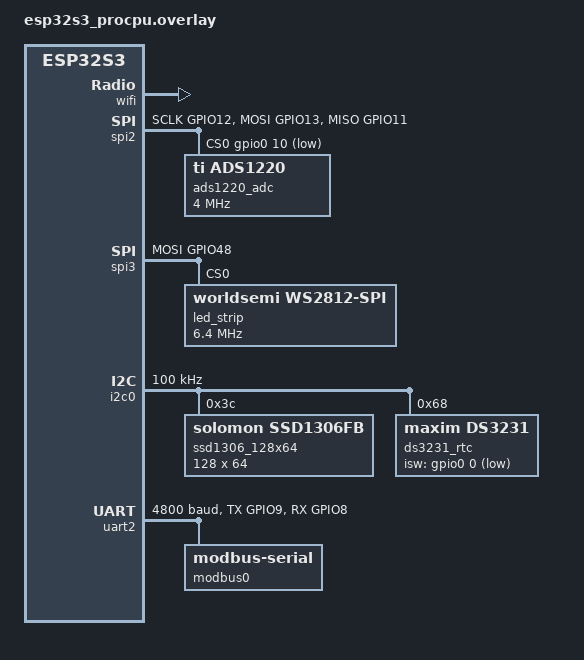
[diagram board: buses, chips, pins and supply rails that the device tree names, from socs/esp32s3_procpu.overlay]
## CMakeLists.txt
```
# SPDX-License-Identifier: Apache-2.0

cmake_minimum_required(VERSION 3.20.0)

find_package(Zephyr REQUIRED HINTS $ENV{ZEPHYR_BASE})
project(wifi)

FILE(GLOB app_sources src/*.c)
target_sources(app PRIVATE ${app_sources})
target_include_directories(app PRIVATE include)

# Add ADS1220_WE library (ported from Arduino)
target_sources(app PRIVATE src/ads1220_we.c)
# Remove old ADS1220 library
# target_sources(app PRIVATE lib/ADS1220/ADS1220.c)
# target_include_directories(app PRIVATE lib/ADS1220)
```

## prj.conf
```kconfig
CONFIG_EARLY_CONSOLE=y

CONFIG_NETWORKING=y
CONFIG_TEST_RANDOM_GENERATOR=y

CONFIG_MAIN_STACK_SIZE=5200
CONFIG_SHELL_STACK_SIZE=5200
CONFIG_NET_TX_STACK_SIZE=2048
CONFIG_NET_RX_STACK_SIZE=2048

CONFIG_NET_PKT_RX_COUNT=10
CONFIG_NET_PKT_TX_COUNT=10
CONFIG_NET_BUF_RX_COUNT=20
CONFIG_NET_BUF_TX_COUNT=20
CONFIG_NET_MAX_CONTEXTS=10
CONFIG_NET_DHCPV4=y

CONFIG_NET_IPV4=y
CONFIG_NET_IPV6=n

CONFIG_NET_TCP=y

CONFIG_NET_LOG=y
CONFIG_INIT_STACKS=y

CONFIG_NET_SHELL=y

CONFIG_NET_STATISTICS=y
CONFIG_NET_STATISTICS_PERIODIC_OUTPUT=n

# 로깅 켜기 + UART로 출력
CONFIG_LOG=y
CONFIG_LOG_BACKEND_UART=y
CONFIG_UART_CONSOLE=y

# 디폴트 레벨을 debug로
#CONFIG_LOG_DEFAULT_LEVEL=4     
# 0 none, 1 err, 2 wrn, 3 inf, 4 dbg

CONFIG_WIFI=y
CONFIG_WIFI_LOG_LEVEL_ERR=y
CONFIG_NET_L2_WIFI_SHELL=y
# printing of scan results puts pressure on queues in new locking
# design in net_mgmt. So, use a higher timeout for a crowded
# environment.
CONFIG_NET_MGMT_EVENT_QUEUE_TIMEOUT=5000
CONFIG_NET_MGMT_EVENT_QUEUE_SIZE=16


# Configuration for using the ssd1306 oled display
CONFIG_I2C=y
CONFIG_DISPLAY=y
CONFIG_SSD1306=y
CONFIG_SSD1306_DEFAULT_CONTRAST=128
CONFIG_CHARACTER_FRAMEBUFFER=y


#Configuration for using led strip
CONFIG_LED_STRIP=y
CONFIG_LED_STRIP_LOG_LEVEL_DBG=y


#Configuration for using modbus
CONFIG_UART_INTERRUPT_DRIVEN=y
CONFIG_UART_LINE_CTRL=n
CONFIG_MODBUS=y
CONFIG_MODBUS_ROLE_CLIENT=y

#Configuration for using SPI
CONFIG_SPI=y
CONFIG_SPI_ASYNC=y
```

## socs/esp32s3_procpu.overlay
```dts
#include <zephyr/dt-bindings/led/led.h>
#include <zephyr/dt-bindings/spi/spi.h>


&pinctrl{
	spim3_default: spim3_default{
		group1 {
			pinmux = <SPIM3_MOSI_GPIO48>;
		};
	};

	/* SPI2 (FSPI) pins for ADC communication */
	spi2_default: spi2_default {
		group1 {
			pinmux = <SPIM2_SCLK_GPIO12>,
					 <SPIM2_MOSI_GPIO13>,
					 <SPIM2_MISO_GPIO11>;
		};
	};
/* UART2 핀 배치: 예시로 TX=GPIO17, RX=GPIO18 사용
	   필요시 원하는 GPIO 번호로 바꿔도 됩니다.
	   (esp32s3-pinctrl.h에 UART2_TX_GPIOxx / UART2_RX_GPIOxx 매크로 존재) */
	uart2_pins: uart2_pins {
		group1 {
			pinmux = <UART2_TX_GPIO9>;
			/* TX 출력 기본값 등 필요시 속성 추가 가능 */
		};
		group2 {
			pinmux = <UART2_RX_GPIO8>;
			bias-pull-up;
		};
	};

};

/ {
	chosen {
	 zephyr,display = &ssd1306_128x64;
	 zephyr,modbus = &modbus0;
//	 zephyr,led-strip = &led_strip;
	};

	aliases {
		// usb-cdc = &usb_serial;
		 rtc = &ds3231_rtc;
		 led-strip = &led_strip;
	};
};

&wifi {
	status = "okay";
};

/* --- SPI2: ADS1220 ADC Communication --- */
&spi2 {
	status = "okay";
	pinctrl-0 = <&spi2_default>;
	pinctrl-names = "default";
	cs-gpios = <&gpio0 10 GPIO_ACTIVE_LOW>;

	ads1220_adc: ads1220@0 {
		compatible = "ti,ads1220";
		reg = <0>;
		spi-max-frequency = <4000000>; /* 4MHz for ADS1220, max is 6.67MHz */
	
		/* === Zephyr 4.2에서 SPI_DT_SPEC_GET가 기대하는 새 속성 === */
  	duplex = <SPI_FULL_DUPLEX>;      /* 3-wire가 아니라면 전이중 */
  	// mode = <SPI_MODE_CPHA>;          /* ADS1220 권장: Mode 1(CPOL=0, CPHA=1) */
  	/* Mode 3이라면: mode = <SPI_MODE_CPOL | SPI_MODE_CPHA>; */
	};
};

/* --- SPI3: WS2812 over SPI --- */
&spi3 {
    status = "okay";
    pinctrl-0 = <&spim3_default>;
    pinctrl-names = "default";

    /* WS2812용 파형 인코딩용 설정 */
    line-idle-low;
		led_strip: ws2812@0 {
        compatible = "worldsemi,ws2812-spi";
        reg = <0>;
        status = "okay";

        /* 단일 LED라면 1, 계속 연결하면 개수대로 */
        chain-length = <1>;

        /* 800 kHz 타이밍을 SPI로 에뮬레이션 */
        spi-max-frequency = <6400000>;
        spi-cpha;
        spi-one-frame = <0xF0>; /* 1비트: 0.625us H / 0.625us L */
        spi-zero-frame = <0xC0>;/* 0비트: 0.3125us H / 0.9375us L */

        /* GRB 순서(보드 기본 RGB LED가 보통 GRB) */
        color-mapping = <LED_COLOR_ID_GREEN
                         LED_COLOR_ID_RED
                         LED_COLOR_ID_BLUE>;
    };
 
};


/* OLED display */
&i2c0 {
	status = "okay";
	clock-frequency = <I2C_BITRATE_STANDARD>;
	pinctrl-0 = <&i2c0_default>;
	pinctrl-names = "default";
	ssd1306_128x64: ssd1306@3c {
		compatible = "solomon,ssd1306fb";
		reg = <0x3c>;
		width = <128>;
		height = <64>;
		segment-offset = <0>;
		page-offset = <0>;
		display-offset = <0>;
		multiplex-ratio = <63>;
		segment-remap;
		com-invdir;
		prechargep = <0x22>;
 		};
	ds3231_rtc: ds3231@68 {
		compatible = "maxim,ds3231";
		reg = <0x68>;	
		isw-gpios = <&gpio0 0 (GPIO_PULL_UP | GPIO_ACTIVE_LOW)>;
		};
};
&uart2 {
	status = "okay";
	current-speed = <4800>;
	pinctrl-0 = <&uart2_pins>;
	pinctrl-names = "default";

	/* (선택) ESP32 하드웨어 RS-485 모드: DTR 핀으로 DE 자동 제어
	 * RS-485 트랜시버의 DE를 UART2 DTR에 물렸을 때만 켜세요.
	 * hw-rs485-hd-mode;
	 */

	/* Modbus RTU(시리얼) 노드 — UART의 자식 노드 */
	modbus0: modbus-serial {
		compatible = "zephyr,modbus-serial";
		status = "okay";

		/* RS-485 트랜시버 DE/RE 제어 핀 (예: GPIO10에 DE와 ~RE 묶음)
		   하드웨어가 DE와 ~RE를 한 핀에 묶었다면 아래처럼 같은 핀을
		   active-high / active-low로 각각 지정합니다. */
		//de-gpios = <&gpio0 10 GPIO_ACTIVE_HIGH>;
		//re-gpios = <&gpio0 10 GPIO_ACTIVE_LOW>;
	};
};
```

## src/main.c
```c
#include <errno.h>
#include <stdint.h>

#include <zephyr/device.h>
#include <zephyr/kernel.h>
#include <zephyr/logging/log.h>

#include <zephyr/net/net_core.h>
#include <zephyr/net/net_if.h>
#include <zephyr/net/net_ip.h>

#include <zephyr/net/net_event.h>
#include <zephyr/net/net_mgmt.h>
#include <zephyr/net/wifi_mgmt.h>

// strip
#include <zephyr/drivers/led_strip.h>
#include <zephyr/drivers/spi.h>

#include "zephyr/drivers/display.h"
#include <zephyr/display/cfb.h>

#include "adc.h"

#define DISPLAY_WIDTH 128
#define DISPALY_HEIGHT 64
#define MESSAGE "Are you ready?? "

LOG_MODULE_REGISTER(main, CONFIG_LOG_DEFAULT_LEVEL);

#define STRIP_NODE DT_ALIAS(led_strip)

#if DT_NODE_HAS_PROP(DT_ALIAS(led_strip), chain_length)
#define STRIP_NUM_PIXELS DT_PROP(DT_ALIAS(led_strip), chain_length)
#else
#error Unable to determine length of LED strip
#endif

#define DELAY_TIME K_MSEC(1000)
#define RGB(_r, _g, _b) {.r = (_r), .g = (_g), .b = (_b)}

static const struct led_rgb colors[] = {
    RGB(0x0f, 0x00, 0x00), /* red */
    RGB(0x00, 0x0f, 0x00), /* green */
    RGB(0x00, 0x00, 0x0f), /* blue */
};

// display
static const struct device *display_dev =
    DEVICE_DT_GET(DT_CHOSEN(zephyr_display));

// strip led for ws2812
static const struct device *const strip = DEVICE_DT_GET(STRIP_NODE);
static struct led_rgb pixels[STRIP_NUM_PIXELS];

int start_led_strip(void) {
  size_t color = 0;
  int rc;

  if (device_is_ready(strip)) {
    LOG_INF("Found LED strip device %s", strip->name);
  } else {
    LOG_ERR("LED strip device %s is not ready", strip->name);
    return 0;
  }

  LOG_INF("Displaying pattern on strip");
  while (1) {
    for (size_t cursor = 0; cursor < ARRAY_SIZE(pixels); cursor++) {
      memset(&pixels, 0x00, sizeof(pixels));
      memcpy(&pixels[cursor], &colors[color], sizeof(struct led_rgb));

      rc = led_strip_update_rgb(strip, pixels, STRIP_NUM_PIXELS);
      if (rc) {
        LOG_ERR("couldn't update strip: %d", rc);
      }

      k_sleep(DELAY_TIME);
    }

    color = (color + 1) % ARRAY_SIZE(colors);
  }

  return 0;
}

int main(void) {

  LOG_INF("Start system ");
  int ret;

  if (display_dev == NULL) {
    LOG_ERR("디스플레이 디바이스가 NULL 입니다");
    return -1;
  }

  if (!device_is_ready(display_dev)) {
    LOG_ERR("디스플레이 디바이스가 준비되지 않았습니다");
    return -1;
  }

  ret = cfb_framebuffer_init(display_dev);
  if (ret != 0) {
    LOG_INF("could not initialize display");
    return -1;
  }
  // inverted background and font
  ret = cfb_framebuffer_invert(display_dev);

  // MQTT 메시지 표시
  ret = cfb_framebuffer_clear(display_dev, true);
  if (ret) {
    LOG_ERR("디스플레이 클리어 실패");
  }

  ret = cfb_print(display_dev, MESSAGE, 0, 0);
  if (ret) {
    LOG_ERR("MQTT 메시지 출력 실패");
  }

  ret = cfb_framebuffer_finalize(display_dev);
  if (ret) {
    LOG_ERR("디스플레이 업데이트 실패");
  }

  // Initialize and start ADC module
  adc_app_start();

  start_led_strip();
  return 0;
}
```

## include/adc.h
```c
#ifndef ADC_H
#define ADC_H

#include <zephyr/device.h>
#include <zephyr/drivers/spi.h>
#include <zephyr/drivers/gpio.h>
#include <zephyr/kernel.h>
#include <zephyr/sys/printk.h>
#include <zephyr/logging/log.h>
#include "ads1220_we.h"

// Function declarations
int adc_init(void);
int adc_read_channel(uint8_t channel, int32_t *value);
void adc_test_loop(void);
void adc_app_start(void);

// ADS1220_WE specific functions
int ads1220_read_differential(ads1220_mux_t mux_config, int32_t *value);
int ads1220_read_single_ended(uint8_t channel, int32_t *value);
float adc_raw_to_voltage(int32_t raw_value);

#endif
```

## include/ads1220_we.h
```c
/******************************************************************************
 * ADS1220_WE Library - Ported to Zephyr RTOS
 *
 * Original Arduino library by Wolfgang (Wolle) Ewald
 * Ported to Zephyr RTOS for ESP32-S3
 *
 * This is a library for the 24 bit, 4 channel ADS1220 A/D Converter
 ******************************************************************************/

#ifndef ADS1220_WE_H_
#define ADS1220_WE_H_

#include <stdbool.h>
#include <stdint.h>
#include <zephyr/device.h>
#include <zephyr/drivers/gpio.h>
#include <zephyr/drivers/spi.h>
#include <zephyr/kernel.h>
#include <zephyr/logging/log.h>
#include <zephyr/sys/printk.h>

/* ADS1220 MUX Configuration */
typedef enum {
  ADS1220_MUX_0_1 = 0x00, // default
  ADS1220_MUX_0_2 = 0x10,
  ADS1220_MUX_0_3 = 0x20,
  ADS1220_MUX_1_2 = 0x30,
  ADS1220_MUX_1_3 = 0x40,
  ADS1220_MUX_2_3 = 0x50,
  ADS1220_MUX_1_0 = 0x60,
  ADS1220_MUX_3_2 = 0x70,
  ADS1220_MUX_0_AVSS = 0x80,
  ADS1220_MUX_1_AVSS = 0x90,
  ADS1220_MUX_2_AVSS = 0xA0,
  ADS1220_MUX_3_AVSS = 0xB0,
  ADS1220_MUX_REFPX_REFNX_4 = 0xC0,
  ADS1220_MUX_AVDD_M_AVSS_4 = 0xD0,
  ADS1220_MUX_AVDD_P_AVSS_2 = 0xE0
} ads1220_mux_t;

typedef enum {
  ADS1220_GAIN_1 = 0x00, // default
  ADS1220_GAIN_2 = 0x02,
  ADS1220_GAIN_4 = 0x04,
  ADS1220_GAIN_8 = 0x06,
  ADS1220_GAIN_16 = 0x08,
  ADS1220_GAIN_32 = 0x0A,
  ADS1220_GAIN_64 = 0x0C,
  ADS1220_GAIN_128 = 0x0E
} ads1220_gain_t;

typedef enum {
  ADS1220_DR_LVL_0 =
      0x00, // default: 20 SPS (normal), 5 SPS (duty), 40 SPS (turbo)
  ADS1220_DR_LVL_1 = 0x20, // 45 SPS (normal), 11.25 SPS (duty), 90 SPS (turbo)
  ADS1220_DR_LVL_2 = 0x40, // 90 SPS (normal), 22.5 SPS (duty), 180 SPS (turbo)
  ADS1220_DR_LVL_3 = 0x60, // 175 SPS (normal), 44 SPS (duty), 350 SPS (turbo)
  ADS1220_DR_LVL_4 = 0x80, // 330 SPS (normal), 82.5 SPS (duty), 660 SPS (turbo)
  ADS1220_DR_LVL_5 = 0xA0, // 600 SPS (normal), 150 SPS (duty), 1200 SPS (turbo)
  ADS1220_DR_LVL_6 = 0xC0 // 1000 SPS (normal), 250 SPS (duty), 2000 SPS (turbo)
} ads1220_data_rate_t;

typedef enum {
  ADS1220_NORMAL_MODE = 0x00, // default
  ADS1220_DUTY_CYCLE_MODE = 0x08,
  ADS1220_TURBO_MODE = 0x10
} ads1220_op_mode_t;

typedef enum {
  ADS1220_SINGLE_SHOT = 0x00, // default
  ADS1220_CONTINUOUS = 0x04
} ads1220_conv_mode_t;

typedef enum {
  ADS1220_VREF_INT = 0x00,         // default - Internal 2.048V
  ADS1220_VREF_REFP0_REFN0 = 0x40, // External reference REFP0/REFN0
  ADS1220_VREF_REFP1_REFN1 = 0x80, // External reference REFP1/REFN1 (AIN0/AIN3)
  ADS1220_VREF_AVDD_AVSS = 0xC0    // Supply voltage AVDD/AVSS
} ads1220_vref_t;

typedef enum {
  ADS1220_NONE = 0x00,      // default - No 50Hz/60Hz rejection
  ADS1220_50HZ_60HZ = 0x10, // Both 50Hz and 60Hz rejection
  ADS1220_50HZ = 0x20,      // 50Hz rejection only
  ADS1220_60HZ = 0x30       // 60Hz rejection only
} ads1220_fir_t;

typedef enum {
  ADS1220_ALWAYS_OPEN = 0x00, // default - Switch always open
  ADS1220_SWITCH = 0x08       // Switch control
} ads1220_psw_t;

typedef enum {
  ADS1220_IDAC_OFF = 0x00, // default
  ADS1220_IDAC_10_MU_A = 0x01,
  ADS1220_IDAC_50_MU_A = 0x02,
  ADS1220_IDAC_100_MU_A = 0x03,
  ADS1220_IDAC_250_MU_A = 0x04,
  ADS1220_IDAC_500_MU_A = 0x05,
  ADS1220_IDAC_1000_MU_A = 0x06,
  ADS1220_IDAC_1500_MU_A = 0x07
} ads1220_idac_current_t;

typedef enum {
  ADS1220_IDAC_NONE = 0x00, // default
  ADS1220_IDAC_AIN0_REFP1 = 0x01,
  ADS1220_IDAC_AIN1 = 0x02,
  ADS1220_IDAC_AIN2 = 0x03,
  ADS1220_IDAC_AIN3_REFN1 = 0x04,
  ADS1220_IDAC_REFP0 = 0x05,
  ADS1220_IDAC_REFN0 = 0x06,
} ads1220_idac_routing_t;

typedef enum {
  ADS1220_DRDY = 0x00,     // default - Use DRDY pin
  ADS1220_DOUT_DRDY = 0x02 // Use DOUT/DRDY pin
} ads1220_drdy_mode_t;

/* ADS1220 Device Structure */
typedef struct {
  const struct spi_dt_spec *spi;
  int drdy_pin;
  float vref;
  uint8_t gain;
  bool ref_measurement;
  bool do_not_bypass_pga_if_possible;
  bool non_blocking_mode;
  ads1220_conv_mode_t conv_mode;
} ads1220_dev_t;

/* ADS1220 Commands */
#define ADS1220_RESET 0x06
#define ADS1220_START 0x08 // START/SYNC command for continuous conversion
#define ADS1220_PWRDOWN 0x02
#define ADS1220_RDATA 0x10
#define ADS1220_WREG 0x40 // Write register
#define ADS1220_RREG 0x20 // Read register

/* ADS1220 Registers */
#define ADS1220_CONF_REG_0 0x00
#define ADS1220_CONF_REG_1 0x01
#define ADS1220_CONF_REG_2 0x02
#define ADS1220_CONF_REG_3 0x03

/* ADS1220 Constants */
#define ADS1220_RANGE 8388607.0 // 2^23 - 1 as float

/* Device Configuration */
#define SPI_ADS1220_NODE DT_NODELABEL(spi2)
#define ADS1220_DEVICE_NODE DT_NODELABEL(ads1220_adc)
#define ADS1220_CS_GPIO_NODE DT_NODELABEL(gpio0)
#define ADS1220_CS_PIN 10
#define ADS1220_DRDY_PIN -1 // Optional DRDY pin

/* Function Declarations */

/* Initialization and Control */
int ads1220_init(ads1220_dev_t *dev);
void ads1220_start(ads1220_dev_t *dev);
void ads1220_reset(ads1220_dev_t *dev);
void ads1220_power_down(ads1220_dev_t *dev);

/* Configuration Register 0 settings */
void ads1220_set_compare_channels(ads1220_dev_t *dev, ads1220_mux_t mux);
void ads1220_set_gain(ads1220_dev_t *dev, ads1220_gain_t gain);
uint8_t ads1220_get_gain_factor(ads1220_dev_t *dev);
void ads1220_bypass_pga(ads1220_dev_t *dev, bool bypass);
bool ads1220_is_pga_bypassed(ads1220_dev_t *dev);

/* Configuration Register 1 settings */
void ads1220_set_data_rate(ads1220_dev_t *dev, ads1220_data_rate_t rate);
void ads1220_set_operating_mode(ads1220_dev_t *dev, ads1220_op_mode_t mode);
void ads1220_set_conversion_mode(ads1220_dev_t *dev, ads1220_conv_mode_t mode);
void ads1220_enable_temperature_sensor(ads1220_dev_t *dev, bool enable);
void ads1220_enable_burnout_current_sources(ads1220_dev_t *dev, bool enable);

/* Configuration Register 2 settings */
void ads1220_set_vref_source(ads1220_dev_t *dev, ads1220_vref_t vref_source);
void ads1220_set_fir_filter(ads1220_dev_t *dev, ads1220_fir_t fir);
void ads1220_set_low_side_power_switch(ads1220_dev_t *dev, ads1220_psw_t psw);
void ads1220_set_idac_current(ads1220_dev_t *dev,
                              ads1220_idac_current_t current);

/* Configuration Register 3 settings */
void ads1220_set_idac1_routing(ads1220_dev_t *dev,
                               ads1220_idac_routing_t route);
void ads1220_set_idac2_routing(ads1220_dev_t *dev,
                               ads1220_idac_routing_t route);
void ads1220_set_drdy_mode(ads1220_dev_t *dev, ads1220_drdy_mode_t mode);

/* Other settings */
void ads1220_set_spi_clock_speed(ads1220_dev_t *dev, uint32_t clock);
void ads1220_set_vref_value_v(ads1220_dev_t *dev, float ref_val);
float ads1220_get_vref_v(ads1220_dev_t *dev);
void ads1220_set_avdd_avss_as_vref_and_calibrate(ads1220_dev_t *dev);
void ads1220_set_refp0_refn0_as_vref_and_calibrate(ads1220_dev_t *dev);
void ads1220_set_refp1_refn1_as_vref_and_calibrate(ads1220_dev_t *dev);
void ads1220_set_int_vref(ads1220_dev_t *dev);
void ads1220_set_non_blocking_mode(ads1220_dev_t *dev, bool non_blocking);
bool ads1220_get_non_blocking_mode(ads1220_dev_t *dev);

/* Results */
float ads1220_get_voltage_mv(ads1220_dev_t *dev);
float ads1220_get_voltage_muv(ads1220_dev_t *dev);
int32_t ads1220_get_raw_data(ads1220_dev_t *dev);
float ads1220_get_temperature(ads1220_dev_t *dev);

/* Low-level functions */
int32_t ads1220_get_data(ads1220_dev_t *dev);
uint32_t ads1220_read_result(ads1220_dev_t *dev);
uint8_t ads1220_read_register(ads1220_dev_t *dev, uint8_t reg);
void ads1220_write_register(ads1220_dev_t *dev, uint8_t reg, uint8_t val);
void ads1220_command(ads1220_dev_t *dev, uint8_t cmd);
void ads1220_set_cs_pin(ads1220_dev_t *dev, uint8_t state);

#endif /* ADS1220_WE_H_ */
```

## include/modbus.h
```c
#ifndef MODBUS_H
#define MODBUS_H

#include <zephyr/device.h>
#include <zephyr/drivers/uart.h>
#include <zephyr/kernel.h>
#include <zephyr/sys/printk.h>

#define UART2_NODE DT_NODELABEL(uart2)

void modbus_init(void);
void modbus_send_message(const char *msg);
void modbus_receive_loop(void);
void modbus_app_start(void);

#endif
```

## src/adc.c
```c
#include "adc.h"

LOG_MODULE_REGISTER(adc, CONFIG_LOG_DEFAULT_LEVEL);

static ads1220_dev_t ads1220_device = {
    .drdy_pin = ADS1220_DRDY_PIN
    // SPI configuration is handled by device tree and ads1220_init()
};

int adc_init(void) {
    int ret = ads1220_init(&ads1220_device);
    if (ret < 0) {
        LOG_ERR("Failed to initialize ADS1220: %d", ret);
        return ret;
    }

    // Configure ADS1220 for typical usage
    ads1220_set_gain(&ads1220_device, ADS1220_GAIN_1);
    ads1220_set_data_rate(&ads1220_device, ADS1220_DR_LVL_0); // 20 SPS
    ads1220_set_operating_mode(&ads1220_device, ADS1220_NORMAL_MODE);
    ads1220_set_conversion_mode(&ads1220_device, ADS1220_SINGLE_SHOT);
    ads1220_set_vref_source(&ads1220_device, ADS1220_VREF_INT); // Internal 2.048V reference
    ads1220_set_fir_filter(&ads1220_device, ADS1220_50HZ_60HZ); // 50Hz/60Hz rejection

    LOG_INF("ADS1220_WE ADC initialized successfully");
    return 0;
}

int ads1220_read_differential(ads1220_mux_t mux_config, int32_t *value) {
    if (!value) {
        return -EINVAL;
    }

    // Set the mux configuration
    ads1220_set_compare_channels(&ads1220_device, mux_config);

    // Get the data
    *value = ads1220_get_raw_data(&ads1220_device);

    LOG_DBG("Differential read mux=%d: raw=%d", mux_config, *value);
    return 0;
}

int ads1220_read_single_ended(uint8_t channel, int32_t *value) {
    if (!value || channel > 3) {
        return -EINVAL;
    }

    ads1220_mux_t mux_config;
    switch (channel) {
        case 0: mux_config = ADS1220_MUX_0_AVSS; break;
        case 1: mux_config = ADS1220_MUX_1_AVSS; break;
        case 2: mux_config = ADS1220_MUX_2_AVSS; break;
        case 3: mux_config = ADS1220_MUX_3_AVSS; break;
        default: return -EINVAL;
    }

    return ads1220_read_differential(mux_config, value);
}

int adc_read_channel(uint8_t channel, int32_t *value) {
    return ads1220_read_single_ended(channel, value);
}

float adc_raw_to_voltage(int32_t raw_value) {
    return ads1220_get_voltage_mv(&ads1220_device) / 1000.0f; // Convert mV to V
}

void adc_test_loop(void) {
    LOG_INF("Starting ADS1220_WE ADC test loop");

    while (1) {
        // Test differential channels
        LOG_INF("=== Differential Readings ===");

        int32_t diff_value;
        int ret;

        // AIN0-AIN1 differential
        ret = ads1220_read_differential(ADS1220_MUX_0_1, &diff_value);
        if (ret == 0) {
            float voltage = ads1220_get_voltage_mv(&ads1220_device) / 1000.0f;
            LOG_INF("AIN0-AIN1: %d (%.6fV)", diff_value, (double)voltage);
        }

        // AIN2-AIN3 differential
        ret = ads1220_read_differential(ADS1220_MUX_2_3, &diff_value);
        if (ret == 0) {
            float voltage = ads1220_get_voltage_mv(&ads1220_device) / 1000.0f;
            LOG_INF("AIN2-AIN3: %d (%.6fV)", diff_value, (double)voltage);
        }

        // Test single-ended channels
        LOG_INF("=== Single-Ended Readings ===");
        for (uint8_t ch = 0; ch < 4; ch++) {
            int32_t adc_value;
            ret = adc_read_channel(ch, &adc_value);

            if (ret == 0) {
                // Read again to get voltage through the library
                ads1220_set_compare_channels(&ads1220_device,
                    (ch == 0) ? ADS1220_MUX_0_AVSS :
                    (ch == 1) ? ADS1220_MUX_1_AVSS :
                    (ch == 2) ? ADS1220_MUX_2_AVSS :
                                ADS1220_MUX_3_AVSS);

                float voltage = ads1220_get_voltage_mv(&ads1220_device) / 1000.0f;
                LOG_INF("AIN%d: %d (%.6fV)", ch, adc_value, (double)voltage);
            } else {
                LOG_ERR("Failed to read channel %d: %d", ch, ret);
            }

            k_msleep(200);
        }

        // Test temperature sensor
        LOG_INF("=== Temperature Reading ===");
        float temperature = ads1220_get_temperature(&ads1220_device);
        LOG_INF("Temperature: %.2f°C", (double)temperature);

        // Test different gains
        LOG_INF("=== Gain Test (AIN0-AIN1) ===");
        ads1220_gain_t gains[] = {ADS1220_GAIN_1, ADS1220_GAIN_2, ADS1220_GAIN_4, ADS1220_GAIN_8};
        const char *gain_names[] = {"1x", "2x", "4x", "8x"};

        for (int i = 0; i < 4; i++) {
            ads1220_set_gain(&ads1220_device, gains[i]);
            ads1220_set_compare_channels(&ads1220_device, ADS1220_MUX_0_1);

            int32_t raw_data = ads1220_get_raw_data(&ads1220_device);
            float voltage = ads1220_get_voltage_mv(&ads1220_device) / 1000.0f;

            LOG_INF("Gain %s: %d (%.6fV)", gain_names[i], raw_data, (double)voltage);
            k_msleep(100);
        }

        // Reset to default gain
        ads1220_set_gain(&ads1220_device, ADS1220_GAIN_1);

        k_msleep(3000); // Wait 3 seconds before next cycle
    }
}

void adc_app_start(void) {
    int ret = adc_init();
    if (ret < 0) {
        LOG_ERR("ADS1220_WE ADC initialization failed: %d", ret);
        return;
    }

    LOG_INF("ADS1220_WE ADC application started");
    adc_test_loop();
}
```

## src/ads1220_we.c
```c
/*****************************************
 * ADS1220_WE Library - Ported to Zephyr RTOS
 *
 * Original Arduino library by Wolfgang (Wolle) Ewald
 * Ported to Zephyr RTOS for ESP32-S3
 *
 * This is a library for the 24 bit, 4 channel ADS1220 A/D Converter
 *******************************************/

#include "ads1220_we.h"
#include "zephyr/drivers/spi.h"
#include <zephyr/device.h>
#include <zephyr/devicetree.h>

LOG_MODULE_REGISTER(ads1220_we, CONFIG_LOG_DEFAULT_LEVEL);

/* DT 노드 라벨은 dts와 맞춰줘 */
#define ADS1220_NODE DT_NODELABEL(ads1220_adc)

/* Define SPI device tree specification for ADS1220 */
static const struct spi_dt_spec ads1220_spi_spec = SPI_DT_SPEC_GET(
    ADS1220_NODE, SPI_OP_MODE_MASTER | SPI_WORD_SET(8) | SPI_TRANSFER_MSB, 0);

/* Initialize ADS1220 device */
int ads1220_init(ads1220_dev_t *dev) {
  if (!dev) {
    return -EINVAL;
  }

  // Initialize default values
  dev->vref = 2.048f;
  dev->gain = 1;
  dev->ref_measurement = false;
  dev->conv_mode = ADS1220_SINGLE_SHOT;
  dev->non_blocking_mode = false;
  dev->do_not_bypass_pga_if_possible = false;

  // Initialize SPI device tree specification (modern Zephyr 4.2 way)
  dev->spi = &ads1220_spi_spec;

  if (!device_is_ready(dev->spi->bus)) {
    LOG_ERR("SPI bus not ready");
    return -ENODEV;
  }
  if (!device_is_ready(dev->spi->config.cs.gpio.port)) {
    LOG_ERR("SPI CS GPIO not ready");
    return -ENODEV;
  }

  LOG_INF("SPI initialized using device tree specification");

  // Initialize ADS1220
  ads1220_reset(dev);
  ads1220_start(dev);

  // Test connection by bypassing PGA and reading register
  ads1220_bypass_pga(dev, true);
  uint8_t ctrl_val = ads1220_read_register(dev, ADS1220_CONF_REG_0);
  ads1220_bypass_pga(dev, false);

  if (ctrl_val == 1) {
    LOG_INF("ADS1220 detected and initialized successfully");
    return 0;
  } else {
    LOG_ERR("ADS1220 not detected! Expected 0x01, got 0x%02X", ctrl_val);
    return -ENODEV;
  }
}

/* Start conversion */
void ads1220_start(ads1220_dev_t *dev) { ads1220_command(dev, ADS1220_START); }

/* Reset ADS1220 */
void ads1220_reset(ads1220_dev_t *dev) {
  ads1220_command(dev, ADS1220_RESET);
  k_msleep(1); // Wait for reset
}

/* Power down */
void ads1220_power_down(ads1220_dev_t *dev) {
  ads1220_command(dev, ADS1220_PWRDOWN);
}

/* Configuration Register 0 settings */
void ads1220_set_compare_channels(ads1220_dev_t *dev, ads1220_mux_t mux) {
  uint8_t reg_val = ads1220_read_register(dev, ADS1220_CONF_REG_0);
  reg_val &= 0x0F; // Clear MUX bits
  reg_val |= (uint8_t)mux;
  ads1220_write_register(dev, ADS1220_CONF_REG_0, reg_val);

  // Handle special cases for single-ended measurements
  if (mux >= ADS1220_MUX_0_AVSS && mux <= ADS1220_MUX_3_AVSS) {
    if (!dev->do_not_bypass_pga_if_possible) {
      // For single-ended, bypass PGA if gain <= 4
      uint8_t current_gain = ads1220_get_gain_factor(dev);
      if (current_gain <= 4) {
        ads1220_bypass_pga(dev, true);
      }
    }
  }
}

void ads1220_set_gain(ads1220_dev_t *dev, ads1220_gain_t gain) {
  uint8_t reg_val = ads1220_read_register(dev, ADS1220_CONF_REG_0);
  reg_val &= 0xF1; // Clear gain bits
  reg_val |= (uint8_t)gain;
  ads1220_write_register(dev, ADS1220_CONF_REG_0, reg_val);

  // Update gain factor
  dev->gain = 1 << ((gain >> 1) & 0x07);
}

uint8_t ads1220_get_gain_factor(ads1220_dev_t *dev) { return dev->gain; }

void ads1220_bypass_pga(ads1220_dev_t *dev, bool bypass) {
  uint8_t reg_val = ads1220_read_register(dev, ADS1220_CONF_REG_0);
  if (bypass) {
    reg_val |= 0x01; // Set PGA_BYPASS bit
  } else {
    reg_val &= 0xFE; // Clear PGA_BYPASS bit
  }
  ads1220_write_register(dev, ADS1220_CONF_REG_0, reg_val);
}

bool ads1220_is_pga_bypassed(ads1220_dev_t *dev) {
  uint8_t reg_val = ads1220_read_register(dev, ADS1220_CONF_REG_0);
  return (reg_val & 0x01) != 0;
}

/* Configuration Register 1 settings */
void ads1220_set_data_rate(ads1220_dev_t *dev, ads1220_data_rate_t rate) {
  uint8_t reg_val = ads1220_read_register(dev, ADS1220_CONF_REG_1);
  reg_val &= 0x1F; // Clear data rate bits
  reg_val |= (uint8_t)rate;
  ads1220_write_register(dev, ADS1220_CONF_REG_1, reg_val);
}

void ads1220_set_operating_mode(ads1220_dev_t *dev, ads1220_op_mode_t mode) {
  uint8_t reg_val = ads1220_read_register(dev, ADS1220_CONF_REG_1);
  reg_val &= 0xE7; // Clear operating mode bits
  reg_val |= (uint8_t)mode;
  ads1220_write_register(dev, ADS1220_CONF_REG_1, reg_val);
}

void ads1220_set_conversion_mode(ads1220_dev_t *dev, ads1220_conv_mode_t mode) {
  uint8_t reg_val = ads1220_read_register(dev, ADS1220_CONF_REG_1);
  if (mode == ADS1220_CONTINUOUS) {
    reg_val |= 0x04; // Set CC bit
  } else {
    reg_val &= 0xFB; // Clear CC bit
  }
  ads1220_write_register(dev, ADS1220_CONF_REG_1, reg_val);
  dev->conv_mode = mode;
}

void ads1220_enable_temperature_sensor(ads1220_dev_t *dev, bool enable) {
  uint8_t reg_val = ads1220_read_register(dev, ADS1220_CONF_REG_1);
  if (enable) {
    reg_val |= 0x02; // Set TS bit
  } else {
    reg_val &= 0xFD; // Clear TS bit
  }
  ads1220_write_register(dev, ADS1220_CONF_REG_1, reg_val);
}

void ads1220_enable_burnout_current_sources(ads1220_dev_t *dev, bool enable) {
  uint8_t reg_val = ads1220_read_register(dev, ADS1220_CONF_REG_1);
  if (enable) {
    reg_val |= 0x01; // Set BCS bit
  } else {
    reg_val &= 0xFE; // Clear BCS bit
  }
  ads1220_write_register(dev, ADS1220_CONF_REG_1, reg_val);
}

/* Configuration Register 2 settings */
void ads1220_set_vref_source(ads1220_dev_t *dev, ads1220_vref_t vref_source) {
  uint8_t reg_val = ads1220_read_register(dev, ADS1220_CONF_REG_2);
  reg_val &= 0x3F; // Clear VREF bits
  reg_val |= (uint8_t)vref_source;
  ads1220_write_register(dev, ADS1220_CONF_REG_2, reg_val);
}

void ads1220_set_fir_filter(ads1220_dev_t *dev, ads1220_fir_t fir) {
  uint8_t reg_val = ads1220_read_register(dev, ADS1220_CONF_REG_2);
  reg_val &= 0xCF; // Clear FIR bits
  reg_val |= (uint8_t)fir;
  ads1220_write_register(dev, ADS1220_CONF_REG_2, reg_val);
}

void ads1220_set_low_side_power_switch(ads1220_dev_t *dev, ads1220_psw_t psw) {
  uint8_t reg_val = ads1220_read_register(dev, ADS1220_CONF_REG_2);
  reg_val &= 0xF7; // Clear PSW bit
  reg_val |= (uint8_t)psw;
  ads1220_write_register(dev, ADS1220_CONF_REG_2, reg_val);
}

void ads1220_set_idac_current(ads1220_dev_t *dev,
                              ads1220_idac_current_t current) {
  uint8_t reg_val = ads1220_read_register(dev, ADS1220_CONF_REG_2);
  reg_val &= 0xF8; // Clear IDAC bits
  reg_val |= (uint8_t)current;
  ads1220_write_register(dev, ADS1220_CONF_REG_2, reg_val);
}

/* Configuration Register 3 settings */
void ads1220_set_idac1_routing(ads1220_dev_t *dev,
                               ads1220_idac_routing_t route) {
  uint8_t reg_val = ads1220_read_register(dev, ADS1220_CONF_REG_3);
  reg_val &= 0x1F; // Clear IDAC1 routing bits
  reg_val |= ((uint8_t)route << 5);
  ads1220_write_register(dev, ADS1220_CONF_REG_3, reg_val);
}

void ads1220_set_idac2_routing(ads1220_dev_t *dev,
                               ads1220_idac_routing_t route) {
  uint8_t reg_val = ads1220_read_register(dev, ADS1220_CONF_REG_3);
  reg_val &= 0xE3; // Clear IDAC2 routing bits
  reg_val |= ((uint8_t)route << 2);
  ads1220_write_register(dev, ADS1220_CONF_REG_3, reg_val);
}

void ads1220_set_drdy_mode(ads1220_dev_t *dev, ads1220_drdy_mode_t mode) {
  uint8_t reg_val = ads1220_read_register(dev, ADS1220_CONF_REG_3);
  reg_val &= 0xFD; // Clear DRDY mode bit
  reg_val |= (uint8_t)mode;
  ads1220_write_register(dev, ADS1220_CONF_REG_3, reg_val);
}

/* Other settings */
void ads1220_set_spi_clock_speed(ads1220_dev_t *dev, uint32_t clock) {
  // Note: In modern Zephyr 4.2 with spi_dt_spec, SPI frequency is set in device
  // tree Dynamic frequency changes would require recreating the spi_dt_spec
  LOG_WRN("SPI frequency is configured in device tree overlay, runtime changes "
          "not supported");
  ARG_UNUSED(dev);
  ARG_UNUSED(clock);
}

void ads1220_set_vref_value_v(ads1220_dev_t *dev, float ref_val) {
  dev->vref = ref_val;
}

float ads1220_get_vref_v(ads1220_dev_t *dev) { return dev->vref; }

void ads1220_set_avdd_avss_as_vref_and_calibrate(ads1220_dev_t *dev) {
  ads1220_set_vref_source(dev, ADS1220_VREF_AVDD_AVSS);
  ads1220_set_compare_channels(dev, ADS1220_MUX_AVDD_P_AVSS_2);
  dev->ref_measurement = true;

  // Measure supply voltage
  int32_t raw_data = ads1220_get_raw_data(dev);
  float measured_vref = (float)raw_data * 2.048f / ADS1220_RANGE * 2.0f;

  dev->vref = measured_vref;
  dev->ref_measurement = false;
  LOG_INF("Calibrated AVDD/AVSS reference: %.3fV", (double)dev->vref);
}

void ads1220_set_refp0_refn0_as_vref_and_calibrate(ads1220_dev_t *dev) {
  ads1220_set_vref_source(dev, ADS1220_VREF_REFP0_REFN0);
  ads1220_set_compare_channels(dev, ADS1220_MUX_REFPX_REFNX_4);
  dev->ref_measurement = true;

  // Measure reference voltage
  int32_t raw_data = ads1220_get_raw_data(dev);
  float measured_vref = (float)raw_data * 2.048f / ADS1220_RANGE * 4.0f;

  dev->vref = measured_vref;
  dev->ref_measurement = false;
  LOG_INF("Calibrated REFP0/REFN0 reference: %.3fV", (double)dev->vref);
}

void ads1220_set_refp1_refn1_as_vref_and_calibrate(ads1220_dev_t *dev) {
  ads1220_set_vref_source(dev, ADS1220_VREF_REFP1_REFN1);
  ads1220_set_compare_channels(dev, ADS1220_MUX_REFPX_REFNX_4);
  dev->ref_measurement = true;

  // Measure reference voltage
  int32_t raw_data = ads1220_get_raw_data(dev);
  float measured_vref = (float)raw_data * 2.048f / ADS1220_RANGE * 4.0f;

  dev->vref = measured_vref;
  dev->ref_measurement = false;
  LOG_INF("Calibrated REFP1/REFN1 reference: %.3fV", (double)dev->vref);
}

void ads1220_set_int_vref(ads1220_dev_t *dev) {
  ads1220_set_vref_source(dev, ADS1220_VREF_INT);
  dev->vref = 2.048f;
}

void ads1220_set_non_blocking_mode(ads1220_dev_t *dev, bool non_blocking) {
  dev->non_blocking_mode = non_blocking;
}

bool ads1220_get_non_blocking_mode(ads1220_dev_t *dev) {
  return dev->non_blocking_mode;
}

/* Results */
float ads1220_get_voltage_mv(ads1220_dev_t *dev) {
  int32_t raw_data = ads1220_get_raw_data(dev);
  if (dev->ref_measurement) {
    return (float)raw_data * 2.048f / ADS1220_RANGE * 1000.0f;
  } else {
    return (float)raw_data * dev->vref / ADS1220_RANGE * 1000.0f /
           (float)dev->gain;
  }
}

float ads1220_get_voltage_muv(ads1220_dev_t *dev) {
  return ads1220_get_voltage_mv(dev) * 1000.0f;
}

int32_t ads1220_get_raw_data(ads1220_dev_t *dev) {
  return ads1220_get_data(dev);
}

float ads1220_get_temperature(ads1220_dev_t *dev) {
  ads1220_enable_temperature_sensor(dev, true);
  k_msleep(100); // Wait for temperature sensor to stabilize

  int32_t raw_data = ads1220_get_data(dev);

  // Temperature calculation according to datasheet
  // T = (raw_data / 2^23) * 2.048V / 90.5µV/°C
  float temp_c = (float)raw_data / ADS1220_RANGE * 2048000.0f / 90.5f;

  ads1220_enable_temperature_sensor(dev, false);
  return temp_c;
}

/* Low-level functions */
int32_t ads1220_get_data(ads1220_dev_t *dev) {
  if (dev->conv_mode == ADS1220_SINGLE_SHOT) {
    ads1220_start(dev);
    k_msleep(100); // Wait for conversion (depends on data rate)
  }

  uint32_t raw_result = ads1220_read_result(dev);

  // Convert to signed 24-bit value
  int32_t result;
  if (raw_result & 0x800000) {
    // Negative value - sign extend
    result = (int32_t)(raw_result | 0xFF000000);
  } else {
    // Positive value
    result = (int32_t)(raw_result & 0x7FFFFF);
  }

  return result;
}

uint32_t ads1220_read_result(ads1220_dev_t *dev) {
  ads1220_command(dev, ADS1220_RDATA);

  uint8_t rx_buf[3] = {0};
  struct spi_buf rx_spi_buf = {.buf = rx_buf, .len = sizeof(rx_buf)};
  struct spi_buf_set rx_spi_buf_set = {.buffers = &rx_spi_buf, .count = 1};

  spi_read_dt(&dev->spi, &rx_spi_buf_set);

  // Combine 3 bytes into 24-bit result
  uint32_t result = ((uint32_t)rx_buf[0] << 16) | ((uint32_t)rx_buf[1] << 8) |
                    (uint32_t)rx_buf[2];

  LOG_DBG("Read result: 0x%06X", result);
  return result;
}

uint8_t ads1220_read_register(ads1220_dev_t *dev, uint8_t reg) {
  uint8_t cmd = ADS1220_RREG | (reg & 0x03);

  ads1220_set_cs_pin(dev, 0);
  k_usleep(1);

  uint8_t tx_buf[2] = {cmd, 0x00};
  uint8_t rx_buf[2] = {0};

  struct spi_buf tx_spi_buf = {.buf = tx_buf, .len = 2};
  struct spi_buf rx_spi_buf = {.buf = rx_buf, .len = 2};
  struct spi_buf_set tx_spi_buf_set = {.buffers = &tx_spi_buf, .count = 1};
  struct spi_buf_set rx_spi_buf_set = {.buffers = &rx_spi_buf, .count = 1};

  spi_transceive_dt(&dev->spi, &tx_spi_buf_set, &rx_spi_buf_set);

  k_usleep(1);
  ads1220_set_cs_pin(dev, 1);

  LOG_DBG("Read register 0x%02X: 0x%02X", reg, rx_buf[1]);
  return rx_buf[1];
}

void ads1220_write_register(ads1220_dev_t *dev, uint8_t reg, uint8_t val) {
  uint8_t cmd = ADS1220_WREG | (reg & 0x03);

  ads1220_set_cs_pin(dev, 0);
  k_usleep(1);

  uint8_t tx_buf[2] = {cmd, val};
  struct spi_buf tx_spi_buf = {.buf = tx_buf, .len = 2};
  struct spi_buf_set tx_spi_buf_set = {.buffers = &tx_spi_buf, .count = 1};

  spi_write_dt(&dev->spi, &tx_spi_buf_set);

  k_usleep(1);
  ads1220_set_cs_pin(dev, 1);

  LOG_DBG("Write register 0x%02X: 0x%02X", reg, val);
}

void ads1220_command(ads1220_dev_t *dev, uint8_t cmd) {
  ads1220_set_cs_pin(dev, 0);
  k_usleep(1);

  uint8_t tx_buf = cmd;
  struct spi_buf tx_spi_buf = {.buf = &tx_buf, .len = 1};
  struct spi_buf_set tx_spi_buf_set = {.buffers = &tx_spi_buf, .count = 1};

  spi_write_dt(&dev->spi, &tx_spi_buf_set);

  k_usleep(1);
  ads1220_set_cs_pin(dev, 1);

  LOG_DBG("Command: 0x%02X", cmd);
}

void ads1220_set_cs_pin(ads1220_dev_t *dev, uint8_t state) {
  // With modern spi_dt_spec, CS is usually handled automatically
  // Manual CS control only if needed for special timing requirements
  if (dev->spi->config.cs.gpio.port) {
    gpio_pin_set_dt(&dev->spi->config.cs.gpio, state);
  }
}
```

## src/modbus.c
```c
#include "modbus.h"

static const struct device *uart2_dev = NULL;

void modbus_init(void) {
  uart2_dev = DEVICE_DT_GET(UART2_NODE);

  if (!device_is_ready(uart2_dev)) {
    printk("UART2 device not ready!\n");
    return;
  }

  printk("UART2 ready!\n");
}

void modbus_send_message(const char *msg) {
  if (!uart2_dev) {
    printk("UART2 not initialized!\n");
    return;
  }

  for (const char *p = msg; *p; p++) {
    uart_poll_out(uart2_dev, *p);
  }
}

void modbus_receive_loop(void) {
  if (!uart2_dev) {
    printk("UART2 not initialized!\n");
    return;
  }

  while (1) {
    unsigned char c;
    if (uart_poll_in(uart2_dev, &c) == 0) {
      printk("RX: %c\n", c);
    }
    k_msleep(10);
  }
}

void modbus_app_start(void) {
  modbus_init();
  modbus_send_message("Hello Modbus!\r\n");
  modbus_receive_loop();
}
```
